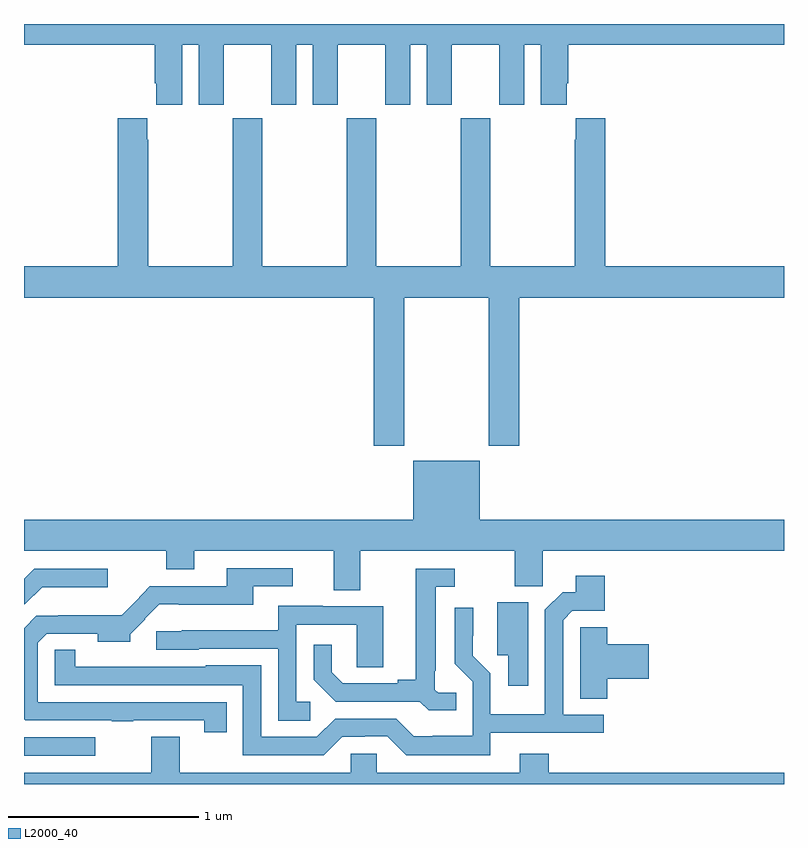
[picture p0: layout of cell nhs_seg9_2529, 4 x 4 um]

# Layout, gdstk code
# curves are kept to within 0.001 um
import gdstk
lib = gdstk.Library(unit=1e-6, precision=1e-09)
def R(c, l, rs):  # rectangles x0, y0, x1, y1
    for r in rs: c.add(gdstk.rectangle(r[:2], r[2:], *l))
def P(c, l, *ps):  # polygons
    for p in ps: c.add(gdstk.Polygon(p, *l))
L2000_40 = (2000, 40)

nhs_seg9_2529 = lib.new_cell('nhs_seg9_2529')
R(nhs_seg9_2529, L2000_40, [(255,1220.649,255.376,1220.745)])
P(nhs_seg9_2529, L2000_40, [(255,1224.392),(255.689,1224.392),(255.689,1224.187),(255.695,1224.187),(255.695,1224.075),(255.832,1224.075),(255.832,1224.392),(255.92,1224.392),(255.92,1224.075),(256.051,1224.075),(256.051,1224.392),(256.301,1224.392),(256.301,1224.075),(256.432,1224.075),(256.432,1224.392),(256.52,1224.392),(256.52,1224.075),(256.651,1224.075),(256.651,1224.392),(256.901,1224.392),(256.901,1224.075),(257.032,1224.075),(257.032,1224.392),(257.12,1224.392),(257.12,1224.075),(257.251,1224.075),(257.251,1224.392),(257.501,1224.392),(257.501,1224.075),(257.632,1224.075),(257.632,1224.392),(257.72,1224.392),(257.72,1224.075),(257.857,1224.075),(257.857,1224.187),(257.864,1224.187),(257.864,1224.392),(259,1224.392),(259,1224.5),(255,1224.5)],
  [(257.001,1223.06),(257.446,1223.06),(257.446,1222.281),(257.606,1222.281),(257.606,1223.06),(259,1223.06),(259,1223.224),(258.059,1223.224),(258.059,1224.004),(257.903,1224.004),(257.903,1223.891),(257.899,1223.891),(257.899,1223.224),(257.454,1223.224),(257.454,1224.004),(257.299,1224.004),(257.299,1223.224),(256.854,1223.224),(256.854,1224.004),(256.699,1224.004),(256.699,1223.224),(256.254,1223.224),(256.254,1224.004),(256.099,1224.004),(256.099,1223.224),(255.654,1223.224),(255.654,1223.891),(255.649,1223.891),(255.649,1224.004),(255.494,1224.004),(255.494,1223.224),(255,1223.224),(255,1223.06),(256.841,1223.06),(256.841,1222.281),(257.001,1222.281)],
  [(256.771,1221.728),(257.584,1221.728),(257.584,1221.541),(257.73,1221.541),(257.73,1221.728),(259,1221.728),(259,1221.892),(257.398,1221.892),(257.398,1222.201),(257.048,1222.201),(257.048,1221.892),(255,1221.892),(255,1221.728),(255.748,1221.728),(255.748,1221.629),(255.895,1221.629),(255.895,1221.728),(256.631,1221.728),(256.631,1221.52),(256.771,1221.52)],
  [(256.067,1220.931),(255.072,1220.931),(255.072,1221.243),(255.12,1221.291),(255.389,1221.291),(255.389,1221.248),(255.56,1221.248),(255.56,1221.288),(255.639,1221.366),(255.636,1221.369),(255.713,1221.446),(255.814,1221.446),(255.814,1221.443),(256.207,1221.443),(256.207,1221.54),(256.414,1221.54),(256.414,1221.636),(256.067,1221.636),(256.067,1221.54),(255.663,1221.54),(255.587,1221.463),(255.589,1221.461),(255.515,1221.388),(255.181,1221.388),(255.181,1221.386),(255.065,1221.386),(255,1221.321),(255,1220.841),(255.006,1220.835),(255.463,1220.835),(255.463,1220.83),(255.575,1220.83),(255.575,1220.835),(255.949,1220.835),(255.949,1220.772),(256.067,1220.772)],
  [(257.276,1220.979),(257.181,1220.979),(257.163,1220.997),(257.163,1221.097),(257.167,1221.097),(257.167,1221.537),(257.266,1221.537),(257.266,1221.633),(257.063,1221.633),(257.063,1221.05),(256.967,1221.05),(256.967,1221.03),(256.678,1221.03),(256.621,1221.087),(256.621,1221.232),(256.524,1221.232),(256.524,1221.05),(256.64,1220.934),(257.082,1220.934),(257.13,1220.887),(257.276,1220.887)],
  [(255.095,1221.536),(255.442,1221.536),(255.442,1221.633),(255.054,1221.633),(255,1221.579),(255,1221.445),(255.004,1221.445)],
  [(257.455,1220.769),(258.052,1220.769),(258.052,1220.865),(257.838,1220.865),(257.838,1221.363),(257.886,1221.411),(258.056,1221.411),(258.056,1221.595),(257.903,1221.595),(257.903,1221.51),(257.835,1221.51),(257.742,1221.417),(257.742,1220.866),(257.454,1220.866),(257.454,1221.082),(257.363,1221.174),(257.364,1221.427),(257.268,1221.427),(257.268,1221.132),(257.361,1221.039),(257.361,1220.755),(257.152,1220.755),(257.152,1220.751),(257.052,1220.751),(256.959,1220.844),(256.638,1220.844),(256.542,1220.748),(256.248,1220.748),(256.248,1221.124),(255.957,1221.124),(255.957,1221.117),(255.271,1221.118),(255.271,1221.206),(255.162,1221.206),(255.162,1221.021),(256.152,1221.021),(256.152,1220.652),(256.578,1220.652),(256.674,1220.748),(256.794,1220.748),(256.794,1220.751),(256.911,1220.751),(257.011,1220.651),(257.455,1220.651)],
  [(257.653,1221.456),(257.492,1221.456),(257.492,1221.177),(257.549,1221.177),(257.549,1221.018),(257.653,1221.018)],
  [(256.507,1220.934),(256.434,1220.934),(256.434,1221.339),(256.752,1221.339),(256.752,1221.115),(256.891,1221.115),(256.891,1221.435),(256.573,1221.435),(256.573,1221.439),(256.337,1221.439),(256.337,1221.31),(255.831,1221.31),(255.831,1221.303),(255.696,1221.303),(255.696,1221.207),(255.921,1221.207),(255.921,1221.213),(256.338,1221.213),(256.338,1220.833),(256.507,1220.833)],
  [(258.071,1221.053),(258.289,1221.053),(258.289,1221.236),(258.071,1221.236),(258.071,1221.326),(257.928,1221.326),(257.928,1221.218),(257.927,1221.218),(257.927,1220.95),(258.071,1220.95)],
  [(259,1220.56),(257.762,1220.56),(257.762,1220.659),(257.609,1220.659),(257.609,1220.56),(256.857,1220.56),(256.857,1220.658),(256.719,1220.658),(256.719,1220.56),(255.819,1220.56),(255.819,1220.75),(255.671,1220.75),(255.671,1220.56),(255,1220.56),(255,1220.5),(259,1220.5)])

lib.write_gds('nhs_seg9_2529.gds')
